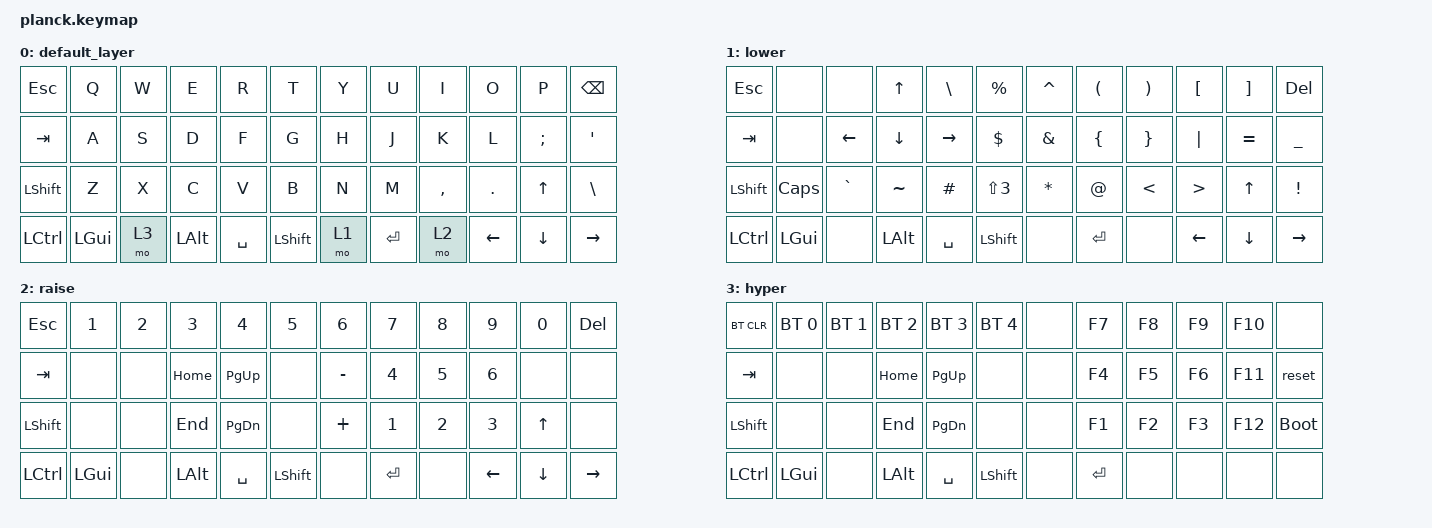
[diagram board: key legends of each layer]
#include <behaviors.dtsi>
#include <dt-bindings/zmk/keys.h>
#include <dt-bindings/zmk/bt.h>

/ {
	keymap {
		compatible = "zmk,keymap";

		default_layer {
				// -------------------------------------------------------------------------------------------------------------------------
				// | ESC     | Q       | W       | E       | R       | T       | Y       | U       | I       | O       | P       | BSPACE  |
				// | TAB     | A       | S       | D       | F       | G       | H       | J       | K       | L       | ;       | '       |
				// | SHIFT   | Z       | X       | C       | V       | B       | N       | M       | ,       | .       | UARW    | /       |
				// | LCTRL   | LGUI    | HYPER   | LALT    | SPACE   | SHIFT   | LOWER   | RETURN  | RAISE   | LARW    | DARW    | RARW    |
			bindings = <
				    &kp ESC   &kp Q     &kp W     &kp E     &kp R     &kp T     &kp Y     &kp U     &kp I     &kp O     &kp P     &kp BSPC
				    &kp TAB   &kp A     &kp S     &kp D     &kp F     &kp G     &kp H     &kp J     &kp K     &kp L     &kp SEMI  &kp SQT
				    &kp LSHFT &kp Z     &kp X     &kp C     &kp V     &kp B     &kp N     &kp M     &kp COMMA &kp DOT   &kp UP    &kp BSLH
				    &kp LCTRL &kp LGUI  &mo 3     &kp LALT  &kp SPACE &kp LSHFT &mo 1     &kp RET   &mo 2     &kp LEFT  &kp DOWN  &kp RIGHT
			>;
		};
		
		lower {
                // -------------------------------------------------------------------------------------------------------------------------
				// | ESC     |         |         | UARW    | \       | %       | ^       | (       | )       | [       | ]       | DEL     |
				// | TAB     | 	       | LARW    | DARW    | RARW    | $       | &       | {       | }       | |       | =       | _       |
				// | SHIFT   | CAPS    | `       | ~       | #       | £       | *       | @       | <       | >       | UARW    | !       |
				// | LCTRL   | LGUI    | 	     | LALT    | SPACE   | SHIFT   | 	     | RETURN  |         | LARW    | DARW    | RARW    |
			bindings = <
					&kp ESC   &none     &none     &kp UP    &kp BSLH  &kp PRCNT &kp CARET &kp LPAR  &kp RPAR  &kp LBKT  &kp RBKT  &kp DEL
				    &kp TAB   &none     &kp LEFT  &kp DOWN  &kp RIGHT &kp DLLR  &kp AMPS  &kp LBRC  &kp RBRC  &kp PIPE  &kp EQUAL &kp UNDER
				    &kp LSHFT &kp CAPS  &kp GRAVE &kp TILDE &kp HASH  &kp LS(N3) &kp STAR &kp AT    &kp LT    &kp GT    &kp UP    &kp EXCL
				    &kp LCTRL &kp LGUI  &none     &kp LALT  &kp SPACE &kp LSHFT &none     &kp RET   &none     &kp LEFT  &kp DOWN  &kp RIGHT
			>;
		};

		raise {
                // -------------------------------------------------------------------------------------------------------------------------
				// | ESC     | 1       | 2       | 3       | 4       | 5       | 6       | 7       | 8       | 9       | 0       | DEL     |
				// | TAB     |         |         | HOME    | PGUP    |         | -       | 4       | 5       | 6       |         |         |
				// | SHIFT   |         |         | END     | PGDN    |         | +       | 1       | 2       | 3       | UARW    |         |
				// | LCTRL   | LGUI    |         | LALT    | SPACE   | SHIFT   | 	     | RETURN  |         | LARW    | DARW    | RARW    |
			bindings = <
					&kp ESC   &kp N1    &kp N2    &kp N3    &kp N4    &kp N5    &kp N6    &kp N7    &kp N8    &kp N9    &kp N0    &kp DEL
				    &kp TAB   &none     &none     &kp HOME  &kp PG_UP &none     &kp MINUS &kp N4    &kp N5    &kp N6    &none     &none
				    &kp LSHFT &none     &none     &kp END   &kp PG_DN &none     &kp PLUS  &kp N1    &kp N2    &kp N3    &kp UP    &none
				    &kp LCTRL &kp LGUI  &none     &kp LALT  &kp SPACE &kp LSHFT &none     &kp RET   &none     &kp LEFT  &kp DOWN  &kp RIGHT
			>;
		};

		hyper {
                // -------------------------------------------------------------------------------------------------------------------------
				// | BLCLR   | BL1     | BL2     | BL3     | BL4     | BL5     |         | F7      | F8      | F9      | F10     |         |
				// | TAB     |         |         |         |         |         |         | F4      | F5      | F6      | F11     | RESET   |
				// | SHIFT   |         |         |         |         |         |         | F1      | F2      | F3      | F12     | BOOTLD  |
				// | LCTRL   | LGUI    |         | LALT    | SPACE   | SHIFT   | 	     | RETURN  |         |         |         |         |
			bindings = <
					&bt BT_CLR &bt BT_SEL 0 &bt BT_SEL 1 &bt BT_SEL 2 &bt BT_SEL 3 &bt BT_SEL 4 &none &kp F7 &kp F8 &kp F9 &kp F10 &none
				    &kp TAB   &none     &none     &kp HOME  &kp PG_UP &none     &none     &kp F4    &kp F5    &kp F6    &kp F11   &reset
				    &kp LSHFT &none     &none     &kp END   &kp PG_DN &none     &none     &kp F1    &kp F2    &kp F3    &kp F12   &bootloader
				    &kp LCTRL &kp LGUI  &none     &kp LALT  &kp SPACE &kp LSHFT &none     &kp RET   &none     &none     &none     &none
			>;
		};
		
	};
};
